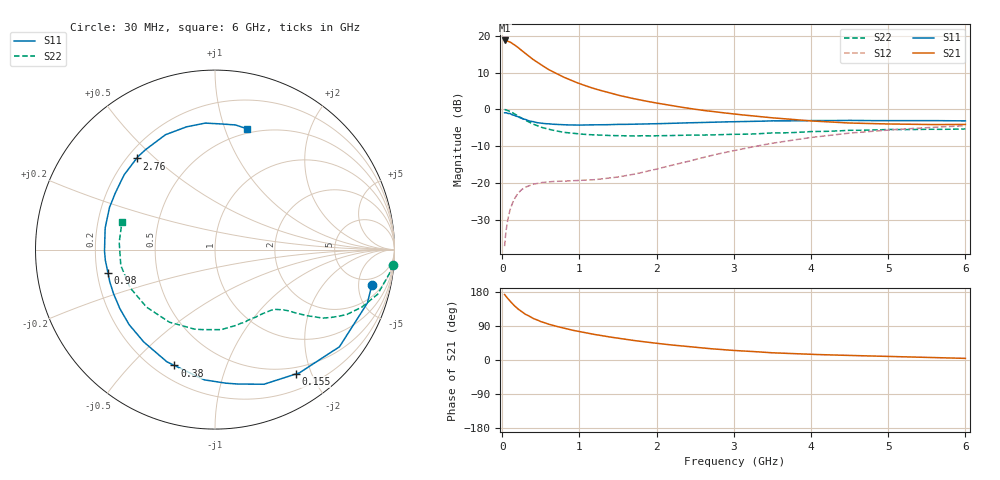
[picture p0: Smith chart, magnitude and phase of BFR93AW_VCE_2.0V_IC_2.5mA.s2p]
! Infineon Technologies  Discrete & RF Semiconductors
! BFR93AW
! VCE =  2.0 V,  IC =  2.5 mA
! Common Emitter S-Parameters:  Nov 2015
# GHz  S  MA  R  50
!  f  S11  S21  S12  S22
! GHz  MAG  ANG  MAG  ANG  MAG  ANG  MAG  ANG
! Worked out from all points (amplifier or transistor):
!   206 points, 30 MHz to 6 GHz, reference 50 ohm
!   highest |S21| = 18.7 dB at 30 MHz (marker M1)
!   |S21| within 3 dB of that: start of sweep to 267.3 MHz
!   unconditionally stable (mu >= 1): 1.149 GHz to 2.501 GHz
!   at 200 MHz: K = 0.19, MSG = 19.9 dB, |S12| = -23.0 dB
!   at 1.56 GHz: K = 1.15, MAG = 8.5 dB, |S12| = -18.2 dB
!   at 6 GHz: K = 1.00, MSG = 0.2 dB, |S12| = -4.5 dB
!   S11 on the Smith chart (normalised r, x): 30 MHz: 3.66, -7.24; 155 MHz: 0.40, -1.77; 380 MHz: 0.28, -0.67; 980 MHz: 0.24, -0.10; 2.76 GHz: 0.24, +0.44; 6 GHz: 0.46, +1.19
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0.03  0.8959 -12.6  8.623 172.6  0.0138 81.0  0.996 -4.9
0.05  0.8997 -19.3  8.594 167.2  0.0228 78.2  0.979 -8.1
0.1  0.8798 -38.0  8.242 155.5  0.0429 69.9  0.9395 -15.4
0.155  0.8266 -57.0  7.552 143.6  0.0601 60.6  0.8723 -21.9
0.2  0.7983 -70.0  6.976 135.3  0.0712 54.7  0.8187 -26.2
0.26  0.7465 -85.4  6.192 126.0  0.0823 47.6  0.7492 -30.3
0.3  0.7281 -94.7  5.734 120.6  0.0874 44.4  0.7103 -32.5
0.38  0.6838 -109.3  4.93 112.2  0.0941 39.9  0.6451 -35.1
0.4  0.6802 -113.2  4.749 109.7  0.0959 38.9  0.6291 -35.8
0.5  0.6498 -127.7  4.037 101.3  0.1008 35.1  0.5719 -38.1
0.6  0.6353 -138.9  3.471 94.5  0.1034 33.7  0.5353 -39.7
0.8  0.6164 -156.4  2.722 83.6  0.1057 33.5  0.4863 -43.3
0.98  0.6102 -167.8  2.276 75.7  0.1078 35.4  0.4649 -46.2
1.04  0.611 -171.2  2.159 73.3  0.1086 36.5  0.4589 -47.7
1.2  0.6156 -179.2  1.896 67.2  0.1106 39.6  0.4487 -51.4
1.5  0.6237 168.7  1.557 57.5  0.1202 47.8  0.4395 -59.0
2.02  0.6384 150.8  1.206 43.5  0.156 59.1  0.4381 -74.3
2.76  0.6702 130.7  0.925 28.9  0.2425 63.1  0.45 -97.6
3.1  0.6796 122.5  0.842 24.1  0.2879 61.1  0.458 -108.2
4.1  0.7018 101.4  0.686 14.3  0.4255 49.4  0.4992 -143.2
5.1  0.7008 85.7  0.63 9.0  0.5318 34.7  0.5303 -173.3
6  0.6962 75.1  0.623 4.3  0.5985 22.8  0.5405 163.5
